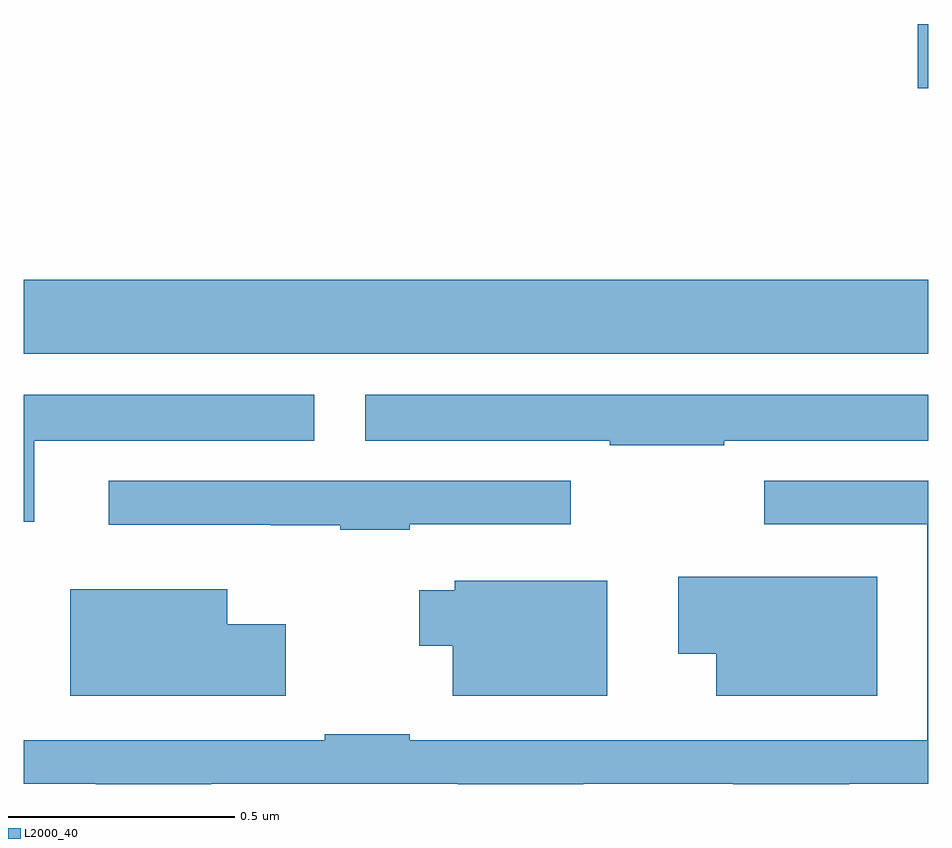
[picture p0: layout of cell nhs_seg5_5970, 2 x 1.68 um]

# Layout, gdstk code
import gdstk
lib = gdstk.Library(unit=1e-6, precision=1e-09)
def R(c, l, rs):  # rectangles x0, y0, x1, y1
    for r in rs: c.add(gdstk.rectangle(r[:2], r[2:], *l))
def P(c, l, *ps):  # polygons
    for p in ps: c.add(gdstk.Polygon(p, *l))
L2000_40 = (2000, 40)

nhs_seg5_5970 = lib.new_cell('nhs_seg5_5970')
R(nhs_seg5_5970, L2000_40, [(190,848.768,192,848.932), (191.976,849.355,192,849.497)])
P(nhs_seg5_5970, L2000_40, [(190.024,848.576),(190.642,848.576),(190.642,848.677),(190,848.677),(190,848.397),(190.024,848.397)],
  [(191.549,848.576),(192,848.576),(192,848.677),(190.755,848.677),(190.755,848.576),(191.296,848.576),(191.296,848.566),(191.549,848.566)],
  [(190.415,847.818),(190.96,847.818),(190.96,847.817),(191.237,847.817),(191.237,847.818),(191.569,847.818),(191.569,847.817),(191.825,847.817),(191.825,847.818),(192,847.818),(192,848.487),(191.637,848.487),(191.637,848.391),(191.997,848.391),(191.997,847.914),(190.853,847.914),(190.853,847.927),(190.666,847.927),(190.666,847.914),(190,847.914),(190,847.818),(190.159,847.818),(190.159,847.817),(190.415,847.817)],
  [(190.853,848.391),(191.209,848.391),(191.209,848.487),(190.188,848.487),(190.188,848.39),(190.546,848.39),(190.546,848.389),(190.7,848.389),(190.7,848.379),(190.853,848.379)],
  [(191.887,848.275),(191.447,848.275),(191.447,848.105),(191.531,848.105),(191.531,848.012),(191.887,848.012)],
  [(191.29,848.266),(190.953,848.266),(190.953,848.245),(190.874,848.245),(190.874,848.123),(190.949,848.123),(190.949,848.012),(191.29,848.012)],
  [(190.579,848.17),(190.45,848.17),(190.45,848.248),(190.103,848.248),(190.103,848.012),(190.579,848.012)])

lib.write_gds('nhs_seg5_5970.gds')
